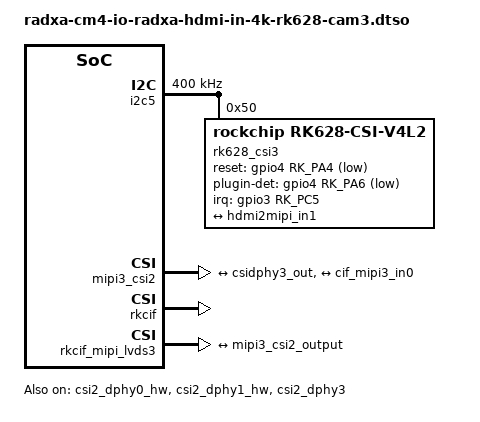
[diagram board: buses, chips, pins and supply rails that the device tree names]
/dts-v1/;
/plugin/;

#include <dt-bindings/gpio/gpio.h>
#include <dt-bindings/interrupt-controller/irq.h>
#include <dt-bindings/pinctrl/rockchip.h>
#include <dt-bindings/power/rockchip,rk3576-power.h>

/ {
	metadata {
		title = "Enable Radxa HDMI IN to MIPI CSI-2 Adapter on CAM3 (4-lane)";
		compatible = "radxa,cm4-io";
		category = "camera";
		exclusive = "GPIO3_C5", "GPIO4_A4", "GPIO4_A6", "csi2_dphy3", "i2c5";
		description = "Enable Radxa 4K HDMI IN to MIPI CSI-2 Adapter on the CAM3 4-lane CSI connector.
For audio, also enable the 'SAI2-M0 capture-only dummy sound card' overlay.
";
	};
};

&i2c5 {
	status = "okay";
	pinctrl-names = "default";
	pinctrl-0 = <&i2c5m3_xfer>;
	clock-frequency = <400000>;
	#address-cells = <1>;
	#size-cells = <0>;

	rk628_csi3: rk628-csi@50 {
		compatible = "rockchip,rk628-csi-v4l2";
		reg = <0x50>;
		power-domains = <&power RK3576_PD_VI>;
		pinctrl-names = "default";
		pinctrl-0 = <&rk628_pin1>;
		interrupt-parent = <&gpio3>;
		interrupts = <RK_PC5 IRQ_TYPE_LEVEL_HIGH>;
		reset-gpios = <&gpio4 RK_PA4 GPIO_ACTIVE_LOW>;
		plugin-det-gpios = <&gpio4 RK_PA6 GPIO_ACTIVE_LOW>;
		continues-clk = <1>;
		rockchip,camera-module-index = <2>;
		rockchip,camera-module-facing = "back";
		rockchip,camera-module-name = "HDMI-MIPI1";
		rockchip,camera-module-lens-name = "RK628-CSI";

		port {
			hdmiin_out1: endpoint {
				remote-endpoint = <&hdmi2mipi_in1>;
				data-lanes = <1 2 3 4>;
			};
		};
	};
};

&csi2_dphy0_hw {
	status = "okay";
};

&csi2_dphy1_hw {
	status = "okay";
};

&csi2_dphy3 {
	status = "okay";

	ports {
		#address-cells = <1>;
		#size-cells = <0>;

		port@0 {
			reg = <0>;
			#address-cells = <1>;
			#size-cells = <0>;

			hdmi2mipi_in1: endpoint@1 {
				reg = <1>;
				remote-endpoint = <&hdmiin_out1>;
				data-lanes = <1 2 3 4>;
			};
		};

		port@1 {
			reg = <1>;
			#address-cells = <1>;
			#size-cells = <0>;

			csidphy3_out: endpoint@0 {
				reg = <0>;
				remote-endpoint = <&mipi3_csi2_input>;
			};
		};
	};
};

&mipi3_csi2 {
	status = "okay";

	ports {
		#address-cells = <1>;
		#size-cells = <0>;

		port@0 {
			reg = <0>;
			#address-cells = <1>;
			#size-cells = <0>;

			mipi3_csi2_input: endpoint@1 {
				reg = <1>;
				remote-endpoint = <&csidphy3_out>;
			};
		};

		port@1 {
			reg = <1>;
			#address-cells = <1>;
			#size-cells = <0>;

			mipi3_csi2_output: endpoint@0 {
				reg = <0>;
				remote-endpoint = <&cif_mipi3_in0>;
			};
		};
	};
};

&rkcif {
	status = "okay";
};

&rkcif_mipi_lvds3 {
	status = "okay";

	port {
		cif_mipi3_in0: endpoint {
			remote-endpoint = <&mipi3_csi2_output>;
		};
	};
};

&rkcif_mmu {
	status = "okay";
};

&pinctrl {
	hdmiin {
		rk628_pin1: rk628-pin1 {
			rockchip,pins =
				<3 RK_PC5 RK_FUNC_GPIO &pcfg_pull_none>,
				<4 RK_PA4 RK_FUNC_GPIO &pcfg_pull_none>,
				<4 RK_PA6 RK_FUNC_GPIO &pcfg_pull_none>;
		};
	};
};
